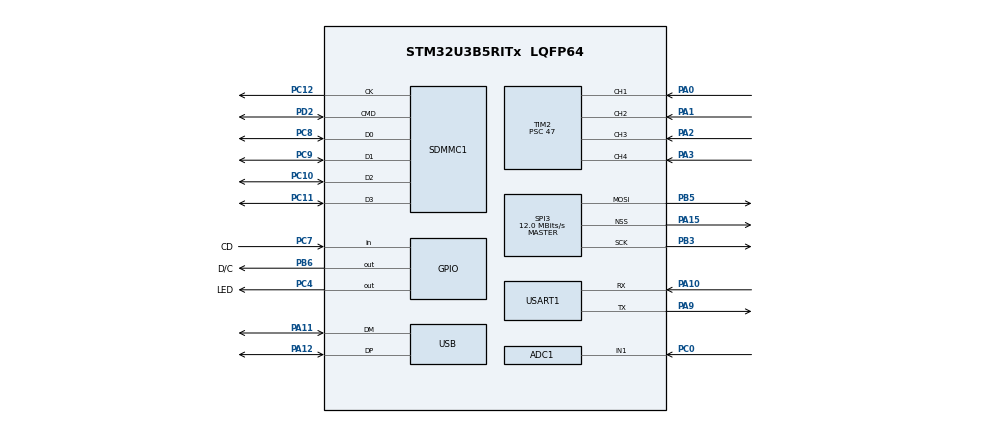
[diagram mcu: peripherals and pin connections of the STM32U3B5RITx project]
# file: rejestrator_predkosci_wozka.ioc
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ADC1.Channel-0\#ChannelRegularConversion=ADC_CHANNEL_1
ADC1.LowPowerAutoWait=ENABLE
ADC1.MonitoredBy-0\#ChannelRegularConversion=__NULL
ADC1.NbrOfConversionFlag=1
ADC1.OffsetNumber-0\#ChannelRegularConversion=ADC_OFFSET_NONE
ADC1.Rank-0\#ChannelRegularConversion=1
ADC1.SamplingTime-0\#ChannelRegularConversion=ADC_SAMPLETIME_1CYCLE_5
ADC1.master=1
CORTEX_M33_NS.userName=CORTEX_M33
FILEX.FX_DRIVER_USE_64BIT_LBA=0
FILEX.FX_ENABLE_EXFAT=1
FILEX.FX_SD_INTERFACE=1
Mcu.Family=STM32U3
Mcu.Name=STM32U3B5RITx
Mcu.Package=LQFP64
NVIC.PriorityGroup=NVIC_PRIORITYGROUP_4
NVIC.SDMMC1_IRQn=true\:0\:0\:false\:false\:true\:true\:true\:true
NVIC.TIM2_IRQn=true\:0\:0\:false\:false\:true\:true\:true\:true
NVIC.TIM7_IRQn=true\:0\:0\:false\:false\:true\:true\:true\:true
NVIC.USART1_IRQn=true\:0\:0\:false\:false\:true\:true\:true\:true
NVIC.USB_FS_IRQn=true\:0\:0\:false\:false\:true\:true\:true\:true
PA0.Signal=S_TIM2_CH1
PA1.Signal=S_TIM2_CH2
PA10.Mode=Asynchronous
PA10.Signal=USART1_RX
PA11.Mode=Device
PA11.Signal=USB_DM
PA12.Mode=Device
PA12.Signal=USB_DP
PA13\ (JTMS/SWDIO).Mode=Serial_Wire
PA13\ (JTMS/SWDIO).Signal=DEBUG_JTMS-SWDIO
PA14\ (JTCK/SWCLK).Mode=Serial_Wire
PA14\ (JTCK/SWCLK).Signal=DEBUG_JTCK-SWCLK
PA15\ (JTDI).Mode=NSS_Signal_Hard_Output
PA15\ (JTDI).Signal=SPI3_NSS
PA2.Signal=S_TIM2_CH3
PA3.Signal=S_TIM2_CH4
PA9.Mode=Asynchronous
PA9.Signal=USART1_TX
PB3\ (JTDO/TRACESWO).Mode=TX_Only_Simplex_Unidirect_Master
PB3\ (JTDO/TRACESWO).Signal=SPI3_SCK
PB5.Mode=TX_Only_Simplex_Unidirect_Master
PB5.Signal=SPI3_MOSI
PB6.GPIO_Label=D/C
PB6.Signal=GPIO_Output
PC0.Mode=IN1-Single-Ended
PC0.Signal=ADC1_IN1
PC10.GPIO_PuPd=GPIO_PULLUP
PC10.Mode=SD_4_bits_Wide_bus
PC10.Signal=SDMMC1_D2
PC11.GPIO_PuPd=GPIO_PULLUP
PC11.Mode=SD_4_bits_Wide_bus
PC11.Signal=SDMMC1_D3
PC12.Mode=SD_4_bits_Wide_bus
PC12.Signal=SDMMC1_CK
PC4.GPIO_Label=LED
PC4.Signal=GPIO_Output
PC7.GPIO_Label=CD
PC7.Signal=GPIO_Input
PC8.GPIO_PuPd=GPIO_PULLUP
PC8.Mode=SD_4_bits_Wide_bus
PC8.Signal=SDMMC1_D0
PC9.GPIO_PuPd=GPIO_PULLUP
PC9.Mode=SD_4_bits_Wide_bus
PC9.Signal=SDMMC1_D1
PD2.GPIO_PuPd=GPIO_PULLUP
PD2.Mode=SD_4_bits_Wide_bus
PD2.Signal=SDMMC1_CMD
PH0-OSC_IN\ (PH0).Mode=HSE-External-Oscillator
PH0-OSC_IN\ (PH0).Signal=RCC_OSC_IN
PH1-OSC_OUT\ (PH1).Mode=HSE-External-Oscillator
PH1-OSC_OUT\ (PH1).Signal=RCC_OSC_OUT
ProjectManager.HeapSize=0x400
ProjectManager.StackSize=0x800
ProjectManager.TargetToolchain=STM32CubeIDE
RCC.ADCFreq_Value=6000000
RCC.ADC_DIV=RCC_ADCDACCLK_DIV8
RCC.AHBFreq_Value=48000000
RCC.APB1Freq_Value=48000000
RCC.APB1TimFreq_Value=48000000
RCC.APB2Freq_Value=48000000
RCC.APB2TimFreq_Value=48000000
RCC.APB3Freq_Value=48000000
RCC.CortexFreq_Value=6000000
RCC.FLatency=FLASH_LATENCY_2
RCC.HCLKFreq_Value=48000000
RCC.HSE_VALUE=24000000
RCC.HSI48_VALUE=48000000
RCC.HSI_VALUE=16000000
RCC.ICLKCLockSelection=RCC_ICLKCLKSOURCE_HSI48
RCC.LSE_VALUE=32768
RCC.LSIDIV_VALUE=32000
RCC.MSIKDIV=RCC_MSI_DIV2
RCC.MSISDIV=RCC_MSI_DIV2
RCC.SYSCLKFreq_VALUE=48000000
RCC.USBFreq_Value=48000000
SH.S_TIM2_CH1.0=TIM2_CH1,Input_Capture1_from_TI1
SH.S_TIM2_CH2.0=TIM2_CH2,Input_Capture2_from_TI2
SH.S_TIM2_CH3.0=TIM2_CH3,Input_Capture3_from_TI3
SH.S_TIM2_CH4.0=TIM2_CH4,Input_Capture4_from_TI4
SPI3.BaudRatePrescaler=SPI_BAUDRATEPRESCALER_4
SPI3.CalculateBaudRate=12.0 MBits/s
SPI3.Direction=SPI_DIRECTION_2LINES_TXONLY
SPI3.Mode=SPI_MODE_MASTER
SPI3.TIMode=SPI_TIMODE_DISABLE
SPI3.VirtualNSS=VM_NSSHARD
SPI3.VirtualType=VM_MASTER
STMicroelectronics.X-CUBE-ALGOBUILD.1.5.0.LibraryCcDSPOoLibraryJjDSPOoLibrary=true
TIM2.Channel-Input_Capture1_from_TI1=TIM_CHANNEL_1
TIM2.Channel-Input_Capture2_from_TI2=TIM_CHANNEL_2
TIM2.Channel-Input_Capture3_from_TI3=TIM_CHANNEL_3
TIM2.Channel-Input_Capture4_from_TI4=TIM_CHANNEL_4
TIM2.ICPolarity_CH1=TIM_INPUTCHANNELPOLARITY_FALLING
TIM2.ICPolarity_CH2=TIM_INPUTCHANNELPOLARITY_FALLING
TIM2.ICPolarity_CH3=TIM_INPUTCHANNELPOLARITY_FALLING
TIM2.ICPolarity_CH4=TIM_INPUTCHANNELPOLARITY_FALLING
TIM2.Prescaler=47
TIM7.AutoReloadPreload=TIM_AUTORELOAD_PRELOAD_DISABLE
TIM7.Prescaler=47
USART1.VirtualMode-Asynchronous=VM_ASYNC
USB.VirtualMode=Device_Only
VP_CORTEX_M33_NS_VS_Ext.Mode=External_Mode
VP_FILEX_VS_FileOoSystemJjFileXJjCore.Mode=FileX_Core
VP_FILEX_VS_SDOointerface.Mode=SD_interface
VP_ICACHE_VS_ICACHE.Mode=DirectMappedCache
VP_PWR_VS_DBSignals.Mode=DisableDeadBatterySignals
VP_PWR_VS_SECSignals.Mode=Security/Privilege
VP_RCC_USB.Mode=CRS SYNC Source USB
VP_RNG_VS_RNG.Mode=RNG_Activate
VP_STMicroelectronics.X-CUBE-ALGOBUILD_VS_DSPOoLibraryJjLibrary_1.5.0_1.5.0.Mode=DSPOoLibraryJjLibrary
VP_TIM2_VS_ClockSourceINT.Mode=Internal
VP_TIM7_VS_ClockSourceINT.Mode=Enable_Timer
board=custom

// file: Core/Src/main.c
/* USER CODE BEGIN Header */
/**
  ******************************************************************************
  * @file           : main.c
  * @brief          : Main program body
  ******************************************************************************
  * @attention
  *
  * Copyright (c) 2026 STMicroelectronics.
  * All rights reserved.
  *
  * This software is licensed under terms that can be found in the LICENSE file
  * in the root directory of this software component.
  * If no LICENSE file comes with this software, it is provided AS-IS.
  *
  ******************************************************************************
  */
/* USER CODE END Header */
#include "main.h"
#include "app_filex.h"

/* USER CODE BEGIN Includes */
#include "OLED.h"
#include "KartaSD.h"
#include "KodyBledow.h"
#include "Bluetooth.h"
#include "Czas.h"
#include "Pomiar.h"
#include "Kalman.h"
#include <arm_math.h>
#include <stdio.h>
#include "Enkoder.h"
/* USER CODE END Includes */

ADC_HandleTypeDef hadc1;

RNG_HandleTypeDef hrng;

SD_HandleTypeDef hsd1;

SPI_HandleTypeDef hspi3;

TIM_HandleTypeDef htim2;
TIM_HandleTypeDef htim7;

UART_HandleTypeDef huart1;

PCD_HandleTypeDef hpcd_USB_DRD_FS;

/* USER CODE BEGIN PV */

extern FontDef Font_6x8;
extern FontDef Font_7x10;
extern FontDef Font_11x18;
extern FontDef Font_16x26;
extern const uint8_t logo_ITWL[];
extern const int logo_ITWL_width;
extern const int logo_ITWL_height;
char cBuforNapisów[ROZMIAR_BUF_NAPISOW];	//zmienna do drukowania napisów funkcją sprintf()
stPomiary_t stPomiary[ROZMIAR_BUF_POMIAROW];
uint8_t cBłąd;
uint16_t sLiczbaPomiarów;
extern uint8_t cStatusPomiaru;
extern uint16_t sIndeksPomiaru[LICZBA_CZUJNIKOW];
uint8_t cLicznikOczekiwania;
uint32_t nCzas, nCzasPoczatkuPomiaru, nCzasStart, nCzasStop;
uint32_t nCzasPetliGłównej, nPoprzedniCzasPetliGłównej;
float fPrędkośćMax;
extern float32_t fX[KSTAN];						//wektor stanu: 0=droga, 1=prędkość, 2=przyspieszenie, 3..6=błąd drogi rolek 1..4
extern uint16_t sLicznikPomiarow;
float fNapięcieAku;
//int8_t cPozycjaRolki[LICZBA_CZUJNIKOW];		//określa bieżące położenie rolki: 0=impuls nastąpił po połowie obwodu, 1, 2 - impuls wystąpił po ćwiartce obwodu
//int8_t cKierunekObrotów[LICZBA_CZUJNIKOW];	//okresla kierunek obrotów: 1
float fDroga[LICZBA_CZUJNIKOW] = {0.0f};
//uint8_t cStanCzujnika[2] = {0,1}; 				//każdy czujnik odpowiada za automatu stanu. Czujniki 0 i 2 zmieniają stan między 0 i 3, czujniki 1 i 3 między 1 i 2
//uint8_t cStanEnkodera[2];						//stany 0..3 obu enkoderów. Bit 0 i 1 enkodera 1 pochodzą z wejść 1 i 2, bity enkodera 2 pochodza z wejść 3 i 4
//uint8_t cPoprzedniStanEnkodera[2] = {0,0};		//poprzedni stan enkoderów potrzebny do określenia kierunku obrotu
//uint8_t cPoprzedniImpuls12, cPoprzedniImpuls34;	//zmienna do wykrywania zmian kierunku w trakcie pracy. Dwa impulsy na tym samym czujniku oznacza zmianę kierunku
//int8_t cKierunek12, cKierunek34;				//kierunek obrotów określony parą czujników 1,2 i parą 3,4
GPIO_PinState cStanWejścia;
uint16_t sIndeks = 0;
extern stEnkoder_t stEnkoder;
/* USER CODE END PV */

void SystemClock_Config(void);
void PeriphCommonClock_Config(void);
static void MX_GPIO_Init(void);
static void MX_ADC1_Init(void);
static void MX_ICACHE_Init(void);
static void MX_SPI3_Init(void);
static void MX_TIM2_Init(void);
static void MX_USART1_UART_Init(void);
static void MX_USB_PCD_Init(void);
static void MX_RNG_Init(void);
static void MX_SDMMC1_SD_Init(void);
static void MX_TIM7_Init(void);

int main(void)
{

  /* MCU Configuration--------------------------------------------------------*/

  /* Reset of all peripherals, Initializes the Flash interface and the Systick. */
  HAL_Init();

  /* Configure the system clock */
  SystemClock_Config();

  /* Configure the peripherals common clocks */
  PeriphCommonClock_Config();

  /* Initialize all configured peripherals */
  MX_GPIO_Init();
  MX_ADC1_Init();
  MX_ICACHE_Init();
  MX_SPI3_Init();
  MX_TIM2_Init();
  MX_USART1_UART_Init();
  MX_USB_PCD_Init();
  MX_RNG_Init();
  MX_SDMMC1_SD_Init();
  MX_FileX_Init();
  MX_TIM7_Init();
  /* USER CODE BEGIN 2 */
  OLED_Init();
  InicjujPomiarTimerem();
  /* USER CODE END 2 */

  /* Infinite loop */
  /* USER CODE BEGIN WHILE */
  //Podczas uruchomienia wyświetl logo
    RysujBitmape((OLED_SZEROKOSC - logo_ITWL_width), 0, logo_ITWL_width, logo_ITWL_height, (uint8_t*)logo_ITWL);
    OLED_RysujNapis("WS-150-3I", 0, 0, &Font_7x10);
    sprintf(cBuforNapisów, "ver.%d", NUMER_WERSJI_REPO);
    OLED_RysujNapis(cBuforNapisów, 0, 12, &Font_7x10);

    //zmierz i wyświetl napięcie akumulatora
    cBłąd = HAL_ADC_Start(&hadc1);
    cBłąd = HAL_ADC_PollForConversion(&hadc1, 100);
	uint32_t nAdcVal = HAL_ADC_GetValue(&hadc1);
	fNapięcieAku = 3.3f * nAdcVal / 4096;
	fNapięcieAku *= 113.0f / 13.0f;	//zewnętrzny dzielnik napięcia
    sprintf(cBuforNapisów, "Ub=%.1fV", fNapięcieAku);
    OLED_RysujNapis(cBuforNapisów, 0, 54, &Font_7x10);

    OLED_OdswiezEkran();
	CzytajIndeksPomiaruZKarty(&sLicznikPomiarow);	//odczytaj indeks ostatnio zapisywanego pomiaru, po to aby bez względu na wyłączanie zasilnia kontynuować numerację i nie nadpisywać swieżych pomiarów
    OLED_CzyśćBuforEkranu();
    while (1)
    {
	  /*/diagnostyka pomiaru czasu - sprawdzić po zmianie częstotliwości taktowania timera
	  for (uint8_t n=0; n<6; n++)
	  {
		  HAL_GPIO_TogglePin(LED_GPIO_Port, LED_Pin);
		  nCzasStart = PobierzCzasT7();
		  do  nCzas = MinalCzas(nCzasStart);
		  while (nCzas < 100000);
	  }*/
    /* USER CODE END WHILE */

    /* USER CODE BEGIN 3 */
    	uint8_t cPozX, cPozY;
    	float fWspSkaliY;	//tyle m/s na wysokości ekranu
    	float fWspSkaliX;

    	cStanWejścia = HAL_GPIO_ReadPin(GPIOA, GPIO_PIN_1);	//czujnik 2 to PA1
    	HAL_GPIO_WritePin(LED_GPIO_Port, LED_Pin, !cStanWejścia);

    	//jeżeli układ pomiarowy nie jest uzbrojony to uzbrój go, czyli inicjuj dane wejdź w gotowość na rejestrację pomiaru
    	if ((cStatusPomiaru & SP_UZBROJONY) != SP_UZBROJONY)
    	{
    		InicjujFiltrKalmanaPrędkościRolek7X2Z();
    		cBłąd = RozpocznijPomiarTimerem();
    		nCzasPoczatkuPomiaru = PobierzCzasT7();
    		cStatusPomiaru |= SP_UZBROJONY;
    		sLiczbaPomiarów = 0;
    		fPrędkośćMax = 0.0f;
    		for (uint8_t n=0; n<4; n++)
    			fDroga[n] = 0.0f;
    	}

    	nCzas = PobierzCzasT7();
    	//Pojawił się pierwszy impuls pomiaru
    	if (cStatusPomiaru & SP_TRWA)
    	{
    		nCzasPetliGłównej = MinalCzas2(nPoprzedniCzasPetliGłównej, nCzas);

    		//nCzas = PobierzCzasT7();	//start testowego pomiaru czasu
    		PredykcjaFiltraKalmanaPrędkościRolek7X2Z((float)nCzasPetliGłównej / 1000000);
    		//nCzas = MinalCzas(nCzas);	//odczyt testowego pomiaru czasu
    	}
    	nPoprzedniCzasPetliGłównej = nCzas;

    	//oblicz prędkość ostatniego pomiaru dla każdego czujnika
    	if (cStatusPomiaru & SP_POMIAR_ROLKI1)
    	{
    		cStatusPomiaru &= ~SP_POMIAR_ROLKI1;
    		sIndeks = sIndeksPomiaru[0] - 1;	//sIndeksPomiaru[] jest aktualizowany w przerwaniu CC timera i wskazuje na następny pomiar
    		/*/czujnik 1 zmienia stan enkodera między wartością 0 i 3
    		if (cStanCzujnika[0] == 0)
    			cStanCzujnika[0] = 3;
    		else
    		if (cStanCzujnika[0] == 3)
    			cStanCzujnika[0] = 0;
    		cStanEnkodera[0] = cStanCzujnika[0];
			stPomiary[sIndeks].cStanBieżący12 = cStanEnkodera[0];
			stPomiary[sIndeks].cStanPoprzedni12 = cPoprzedniStanEnkodera[0];
			cKierunek12 = SprawdźKierunek(cStanEnkodera[0], &cPoprzedniStanEnkodera[0]);	//określ kierunek obrotów
			stPomiary[sIndeks].cKierunekObrotów12 = cKierunek12;*/

    		SprawdźKierunekCzujników(0, &stEnkoder);
    		stPomiary[sIndeks].cKierunekObrotów12 = stEnkoder.cKierunek[0];

    		if (stPomiary[sIndeks].nCzas1 > MIN_CZAS)
    		{
    			stPomiary[sIndeks].fPrędkość1 = (float)stEnkoder.cKierunek[0] * OBWOD_ROLKI_M / ((float)stPomiary[sIndeks].nCzas1 / 1000000);	//średnia prędkość na bieżącym odcinku
    			fDroga[0] += (float)stEnkoder.cKierunek[0] * OBWOD_ROLKI_M / MAGNESOW_NA_ROLCE;	//taką drogę całkowitą w [m] pokonał wózek mierzony rolką 1
    			AktulizacjaRolką1FiltraKalmanaPrędkości7X2Z(fDroga[0], stPomiary[sIndeks].fPrędkość1);

    			//znajdź maksymalną prędkość
    			if (fPrędkośćMax < stPomiary[sIndeks].fKalmanPredkość)
    				fPrędkośćMax = stPomiary[sIndeks].fKalmanPredkość;
    		}
    	}

    	if (cStatusPomiaru & SP_POMIAR_ROLKI2)
    	{
    		cStatusPomiaru &= ~SP_POMIAR_ROLKI2;
    		sIndeks = sIndeksPomiaru[1] - 1;
    		/*/czujnik 1 zmienia stan enkodera między wartością 1 i 2
    		if (cStanCzujnika[1] == 1)
    			cStanCzujnika[1] = 2;
    		else
    		if (cStanCzujnika[1] == 2)
    			cStanCzujnika[1] = 1;
    		cStanEnkodera[0] = cStanCzujnika[1];
    		stPomiary[sIndeks].cStanBieżący12 = cStanEnkodera[0];
    		stPomiary[sIndeks].cStanPoprzedni12 = cPoprzedniStanEnkodera[0];
    		cKierunek12 = SprawdźKierunek(cStanEnkodera[0], &cPoprzedniStanEnkodera[0]);	//określ kierunek obrotów
    		stPomiary[sIndeks].cKierunekObrotów12 = cKierunek12;*/

    		SprawdźKierunekCzujników(1, &stEnkoder);
    		stPomiary[sIndeks].cKierunekObrotów12 = stEnkoder.cKierunek[0];

    		if (stPomiary[sIndeks].nCzas2 > MIN_CZAS)
    		{
    			/*/w przypadku 3 magnesów ułożonych co 90° mierzone sąL 0=odcinek odpowiadający 1/2 obwodu, 1..2 odcinki podowiadające 1/4 obwodu.
    			if (cPozycjaRolki[1] == 0)
    				stPomiary[sIndeks].fPrędkość2 = (OBWOD_ROLKI_M / 2) / ((float)stPomiary[sIndeks].nCzas2 / 1000000);	//średnia prędkość na odcinku dłuższym
    			else
    				stPomiary[sIndeks].fPrędkość2 = (OBWOD_ROLKI_M / 4) / ((float)stPomiary[sIndeks].nCzas2 / 1000000);	//średnia prędkość na odcinku krótszym

    			stPomiary[sIndeks].cBieżącaPozycjaRolki2 = cPozycjaRolki[1];	//zapamiętaj pozycje w logu

    			//Jeżeli mamy przynajmniej 3 obroty można  rozpocząć synchronizację położenia dłuższego odcinka obwodu rolki do pomiaru
    			if (sIndeks >= 2)
    			{
    				float fWariantyPrędkości[3][3];	//wszystkie 3 możliwe rozkłady prędkości

				//wariant 1: 1/2, 1/4, 1/4
				fWariantyPrędkości[0][0] = (OBWOD_ROLKI_M / 2) / ((float)stPomiary[sIndeks - 2].nCzas2 / 1000000);
				fWariantyPrędkości[0][1] = (OBWOD_ROLKI_M / 4) / ((float)stPomiary[sIndeks - 1].nCzas2 / 1000000);
				fWariantyPrędkości[0][2] = (OBWOD_ROLKI_M / 4) / ((float)stPomiary[sIndeks - 0].nCzas2 / 1000000);

				//wariant 2: 1/4, 1/2, 1/4
				fWariantyPrędkości[1][0] = (OBWOD_ROLKI_M / 4) / ((float)stPomiary[sIndeks - 2].nCzas2 / 1000000);
				fWariantyPrędkości[1][1] = (OBWOD_ROLKI_M / 2) / ((float)stPomiary[sIndeks - 1].nCzas2 / 1000000);
				fWariantyPrędkości[1][2] = fWariantyPrędkości[0][2];	//wykorzystaj to co było już policzone

				//wariant 3: 1/4, 1/4, 1/2
				fWariantyPrędkości[2][0] = fWariantyPrędkości[1][0];
				fWariantyPrędkości[2][1] = fWariantyPrędkości[0][1];
				fWariantyPrędkości[2][2] = (OBWOD_ROLKI_M / 2) / ((float)stPomiary[sIndeks - 0].nCzas2 / 1000000);

				//Metodą najmniejszych kwadratów oblicz dopasowanie pomiaru do jednego z wariantów
				float fOdchylenie[3];
				for (uint8_t w=0; w<3; w++)		//pętla po wariantach
				{
					//sumuj kwadrat różnicy...
					fOdchylenie[w] = 0;
					for (uint8_t n=0; n<3; n++)		//pętla po pomiarach
					{
						//fOdchylenie[w] += powf(stPomiary[sIndeks - n].fPrędkość2 - fWariantyPrędkości[w][n], 2);	//między pomiarem a wariantami rozkładu odległości na rolce
						fOdchylenie[w] += powf(stPomiary[sIndeks - (2 - n)].fKalmanPredkość - fWariantyPrędkości[w][n], 2);	//między estymatą a wariantami rozkładu odległości na rolce
					}
					stPomiary[sIndeks].fOdchylenie[w] = fOdchylenie[w];
				}

				//sprawdź który wariant ma najmniejsze odchylenie od pomiaru
				if (cKierunekObrotów[1])	//kierunek normalny do przodu
				{
					if ((fOdchylenie[0] < fOdchylenie[1]) && (fOdchylenie[0] < fOdchylenie[2]))	//wariant 1
						stPomiary[sIndeks].cSkorygowanaPozycjaRolki2 = 2;
					else
					if ((fOdchylenie[1] < fOdchylenie[0]) && (fOdchylenie[1] < fOdchylenie[2]))	//wariant 2
						stPomiary[sIndeks].cSkorygowanaPozycjaRolki2 = 1;
					else
					if ((fOdchylenie[2] < fOdchylenie[0]) && (fOdchylenie[2] < fOdchylenie[1]))	//wariant 3
						stPomiary[sIndeks].cSkorygowanaPozycjaRolki2 = 0;
				}
				else	//ruch wstecz
				{
					if ((fOdchylenie[0] < fOdchylenie[1]) && (fOdchylenie[0] < fOdchylenie[2]))
						stPomiary[sIndeks].cSkorygowanaPozycjaRolki2 = 0;
					else
					if ((fOdchylenie[1] < fOdchylenie[0]) && (fOdchylenie[1] < fOdchylenie[2]))
						stPomiary[sIndeks].cSkorygowanaPozycjaRolki2 = 1;
					else
					if ((fOdchylenie[2] < fOdchylenie[0]) && (fOdchylenie[2] < fOdchylenie[1]))
						stPomiary[sIndeks].cSkorygowanaPozycjaRolki2 = 2;
				}

				//synchronizacja tylko na początku
				if (sIndeks == 2)
					cPozycjaRolki[1] = stPomiary[sIndeks].cSkorygowanaPozycjaRolki2;
			}

			//zmiana synchronizacji to prawdopodobna zmiana kierunku ale potrzeba co najmniej dwóch skorygowanych pozycji aby dobrze okreslić kierunek
			if (sIndeks >= 3)
				cKierunekObrotów[1] = (stPomiary[sIndeks].cSkorygowanaPozycjaRolki2 == stPomiary[sIndeks].cBieżącaPozycjaRolki2);
			stPomiary[sIndeks].cKierunekObrotów2 = cKierunekObrotów[1];

			//kolejna pozycja rolki zależy od kierunku obrotów
			//if (cKierunekObrotów[1])
			{
				cPozycjaRolki[1]++;
				if (cPozycjaRolki[1] > 2)
					cPozycjaRolki[1] = 0;
			}*/
			/*else
			{
				cPozycjaRolki[1]--;
				if (cPozycjaRolki[1] < 0)
					cPozycjaRolki[1] = 2;
			}*/

   			stPomiary[sIndeks].fPrędkość2 = stEnkoder.cKierunek[0] * OBWOD_ROLKI_M / ((float)stPomiary[sIndeks].nCzas2 / 1000000);	//średnia prędkość na bieżącym odcinku
			fDroga[1] += stEnkoder.cKierunek[0] * OBWOD_ROLKI_M / MAGNESOW_NA_ROLCE;	//taką drogę całkowitą w [m] pokonał wózek mierzony rolką 2
			//nCzas = PobierzCzasT7();	//start testowego pomiaru czasu
			AktulizacjaRolką2FiltraKalmanaPrędkości7X2Z(fDroga[1], stPomiary[sIndeks].fPrędkość2);
			//nCzas = MinalCzas(nCzas);	//odczyt testowego pomiaru czasu

			//znajdź maksymalną prędkość
			if (fPrędkośćMax < stPomiary[sIndeks].fKalmanPredkość)
				fPrędkośćMax = stPomiary[sIndeks].fKalmanPredkość;
		}
	}

	if (cStatusPomiaru & SP_POMIAR_ROLKI3)
	{
		cStatusPomiaru &= ~SP_POMIAR_ROLKI3;
		sIndeks = sIndeksPomiaru[2] - 1;
		//cStanEnkodera[1] ^= 0x01;					//zmień stan bitu 1 enkodera 2
		//cKierunek34 = SprawdźKierunek(cStanEnkodera[1], &cPoprzedniStanEnkodera[1]);	//okreś kierunek obrotów
		SprawdźKierunekCzujników(2, &stEnkoder);
		stPomiary[sIndeks].cKierunekObrotów34 = stEnkoder.cKierunek[1];

		if (stPomiary[sIndeks].nCzas3 > MIN_CZAS)
		{
			stPomiary[sIndeks].fPrędkość3 = stEnkoder.cKierunek[1] * OBWOD_ROLKI_M / ((float)stPomiary[sIndeks].nCzas3 / 1000000);	//średnia prędkość na bieżącym odcinku
			fDroga[2] += stEnkoder.cKierunek[1] * OBWOD_ROLKI_M / MAGNESOW_NA_ROLCE;	//taką drogę całkowitą w [m] pokonał wózek mierzony rolką 3
			AktulizacjaRolką3FiltraKalmanaPrędkości7X2Z(fDroga[2], stPomiary[sIndeks].fPrędkość3);

			//znajdź maksymalną prędkość
			if (fPrędkośćMax < stPomiary[sIndeks].fKalmanPredkość)
				fPrędkośćMax = stPomiary[sIndeks].fKalmanPredkość;
		}
	}

	if (cStatusPomiaru & SP_POMIAR_ROLKI4)
	{
		cStatusPomiaru &= ~SP_POMIAR_ROLKI4;
		sIndeks = sIndeksPomiaru[3] - 1;
		//cStanEnkodera[1] ^= 0x02;					//zmień stan bitu 2 enkodera 2
		//cKierunek34 = SprawdźKierunek(cStanEnkodera[1], &cPoprzedniStanEnkodera[1]);	//okreś kierunek obrotów
		SprawdźKierunekCzujników(3, &stEnkoder);
		stPomiary[sIndeks].cKierunekObrotów34 = stEnkoder.cKierunek[1];

		if (stPomiary[sIndeks].nCzas4 > MIN_CZAS)
		{
			stPomiary[sIndeks].fPrędkość4 = stEnkoder.cKierunek[1] * OBWOD_ROLKI_M / ((float)stPomiary[sIndeks].nCzas4 / 1000000);	//średnia prędkość na bieżącym odcinku
			fDroga[3] += stEnkoder.cKierunek[1] * OBWOD_ROLKI_M / MAGNESOW_NA_ROLCE;	//taką drogę całkowitą w [m] pokonał wózek mierzony rolką 4
			AktulizacjaRolką4FiltraKalmanaPrędkości7X2Z(fDroga[3], stPomiary[sIndeks].fPrędkość4);

			//znajdź maksymalną prędkość
			if (fPrędkośćMax < stPomiary[sIndeks].fKalmanPredkość)
				fPrędkośćMax = stPomiary[sIndeks].fKalmanPredkość;
		}
	}

	//ustaw dane z filtra Kalmana
	stPomiary[sIndeks].fKalmanDroga = fX[0];
	stPomiary[sIndeks].fKalmanPredkość = fX[1];
	stPomiary[sIndeks].fKalmanPrzyspieszenie = fX[2];
	stPomiary[sIndeks].fBłądDrogi1 = fX[3];
	stPomiary[sIndeks].fBłądDrogi2 = fX[4];
	stPomiary[sIndeks].fBłądDrogi3 = fX[5];
	stPomiary[sIndeks].fBłądDrogi4 = fX[6];

	//pułapka na zerową estymatę prędkości
	if ((fX[1] == 0.0f) || (stPomiary[sIndeks].fKalmanPredkość == 0.0f))
		cBłąd = 1;

	//przyszły nowe dane, więc przerysuj wykres
	if (cStatusPomiaru & SP_NOWY_POMIAR)
	{
		//oblicz liczbę pomiarów
		uint32_t nMinCzas = 0xFFFFFFFF;
		for (uint8_t n=0; n<LICZBA_CZUJNIKOW; n++)
		{
			if (sIndeksPomiaru[n] > sLiczbaPomiarów)
				 sLiczbaPomiarów = sIndeksPomiaru[n];
		}
		fWspSkaliX = (float)OLED_SZEROKOSC / sLiczbaPomiarów;	//skaluj szerokość wykresu do bieżącej liczby pomiarów

		//znajdź najmniejszy czas aby obliczyć współczynnik skalowania wykresu w Y
		for (uint16_t n=0; n<sLiczbaPomiarów; n++)
		{
			if (stPomiary[n].nCzas1 && (stPomiary[n].nCzas1 < nMinCzas))
				nMinCzas = stPomiary[n].nCzas1;
			if (stPomiary[n].nCzas2 && (stPomiary[n].nCzas2 < nMinCzas))
				nMinCzas = stPomiary[n].nCzas2;
			if (stPomiary[n].nCzas3 && (stPomiary[n].nCzas3 < nMinCzas))
				nMinCzas = stPomiary[n].nCzas3;
			if (stPomiary[n].nCzas4 && (stPomiary[n].nCzas4 < nMinCzas))
				nMinCzas = stPomiary[n].nCzas4;
		 }
		 fWspSkaliY = (float)OLED_WYSOKOSC / (OBWOD_ROLKI_M / ((float)nMinCzas / 1000000));	//tyle m/s na wysokości ekranu

		 OLED_CzyśćBuforEkranu();
		 //Jako pierwszy wyświetla napis aby można było na nim rysować wykresy
		 sprintf(cBuforNapisów, "V  =%.2f  ", fPrędkośćMax);
		 OLED_RysujNapis(cBuforNapisów, 20, 45, &Font_11x18);
		 OLED_RysujNapis("max", 31, 45+18-10, &Font_7x10);		//przesunięcie w Y aby wyrównać do dołu
		 OLED_RysujNapis("m", 120, 45-3, &Font_7x10);
		 OLED_RysujNapis("s", 120, 45+8, &Font_7x10);
		 OLED_RysujLiniePoziomą(120, 45+7, 7);				//kreska ułamka jednostki [m/s]

		 //rysuj poziomą podziałkę wykresu
		 float fMaxPredkość = (float)OLED_WYSOKOSC / fWspSkaliY;
		 uint8_t cMaxPredkość = (uint8_t)(ceilf(fMaxPredkość) + 1.0f);
		 cMaxPredkość &= 0xFE;		//zamień na liczbę parzystą aby uniknąć podziału nieparzystych
		 float fSkokPodziałki = (float)cMaxPredkość / LICZBA_PODZIALEK;
		 for (uint8_t n=0; n<LICZBA_PODZIALEK; n++)
		 {
			 int16_t y = (int16_t)(fSkokPodziałki * (n+1) * fWspSkaliY);
			 if ((y > 0) && (y < OLED_WYSOKOSC))
			 {
				 OLED_RysujLiniePoziomąPrzerywaną(SZEROKOSC_OPISU_PODZIALKI, OLED_WYSOKOSC - y, OLED_SZEROKOSC - SZEROKOSC_OPISU_PODZIALKI, 3);
				 sprintf(cBuforNapisów, "%.1f", (n+1) * fSkokPodziałki);
				 OLED_RysujNapis(cBuforNapisów, 0, OLED_WYSOKOSC - y - 3, &Font_6x8);
			 }
		 }

		 //rysuj wykresy prędkości wózka ze wszystkich 4 rolek jako punkty pomiarowe
		 for (uint16_t x=0; x<sLiczbaPomiarów; x++)
		 {
			 cPozX = x * fWspSkaliX;
			 cPozY = OLED_WYSOKOSC - stPomiary[x].fPrędkość1 * fWspSkaliY;
			 OLED_RysujPiksel(cPozX, cPozY, 1);
			 cPozY = OLED_WYSOKOSC - stPomiary[x].fPrędkość2 * fWspSkaliY;
			 OLED_RysujPiksel(cPozX, cPozY, 1);
			 cPozY = OLED_WYSOKOSC - stPomiary[x].fPrędkość3 * fWspSkaliY;
			 OLED_RysujPiksel(cPozX, cPozY, 1);
			 cPozY = OLED_WYSOKOSC - stPomiary[x].fPrędkość4 * fWspSkaliY;
			 OLED_RysujPiksel(cPozX, cPozY, 1);
		 }

		 //rysuj wykres prędkości wózka z filtra Kalmana jako linię ciągłą
		 uint16_t sStartX, sStartY, sStopX, sStopY;
		 sStartX = sStartY = 0;
		 for (uint16_t x=0; x<sLiczbaPomiarów; x++)
		 {
			 sStopX = x * fWspSkaliX;
			 sStopY = stPomiary[x].fKalmanPredkość * fWspSkaliY;
			 OLED_RysujLinię(sStartX, OLED_WYSOKOSC - sStartY, sStopX, OLED_WYSOKOSC - sStopY);
			 sStartX = sStopX;
			 sStartY = sStopY;
		 }

		 //rysuj kierunek obrotu

		 sprintf(cBuforNapisów, "stan: %d", stEnkoder.cStanEnkodera[0]);
		 OLED_RysujNapis(cBuforNapisów, 80, 0, &Font_6x8);
		 sprintf(cBuforNapisów, "kier: %+d", stEnkoder.cKierunek[0]);
		 OLED_RysujNapis(cBuforNapisów, 80, 20, &Font_6x8);
		 OLED_OdswiezEkran();
	  }

	  //koniec pomiaru, zapisz na kartę i wyślij telemetrię
	  if (cStatusPomiaru & SP_GOTOWY)
	  {
		  if (sLiczbaPomiarów > LICZBA_POMIAROW_DO_ZAPISU)	//nie zapisuj bardzo krótkich pomiarów
		  {
			  cBłąd = WyślijTelemetrieBluetooth(stPomiary);
			  if (cBłąd == BLAD_OK)
			  {
				  //HAL_GPIO_WritePin(LED_GPIO_Port, LED_Pin, GPIO_PIN_SET);	//błyśnij LED gdy poprawnie wysłał telemetrię
				  //HAL_Delay(100);
			  }
			  //HAL_GPIO_WritePin(LED_GPIO_Port, LED_Pin, GPIO_PIN_RESET);	//niski poziom gasi LED
			  //HAL_Delay(100);

			  cBłąd = ZapiszPomiarNaKarte(stPomiary);
			  if (cBłąd == BLAD_OK)
			  {
				  //HAL_GPIO_WritePin(LED_GPIO_Port, LED_Pin, GPIO_PIN_SET);	//błyśnij LED gdy poprawnie zapisał dane na kartę
				  //HAL_Delay(100);
				  cBłąd = ZapiszIndeksPomiaruNaKarte(sLicznikPomiarow);		//aktualizuj indeks. skoro zapis danych się udał to indeks też powinien się zapisać
			  }
			  //HAL_GPIO_WritePin(LED_GPIO_Port, LED_Pin, GPIO_PIN_RESET);	//niski poziom gasi LED
			  //HAL_Delay(100);
		  }

		  cStatusPomiaru = 0;	//kasuj wszystkie flagi
		  cLicznikOczekiwania = 0;
	  }
	  else	//cStatusPomiaru nie jest SP_GOTOWY. Sprawdź czy wystąpił timeout
	  {
		  nCzas = MinalCzas(nCzasPoczatkuPomiaru);
		  if ((nCzas > 5000000) && (cStatusPomiaru & SP_UZBROJONY)  && (cStatusPomiaru & SP_TRWA))	//timeout 5 sekund
		  {
			  cBłąd = ZakończPomiarTimerem();
			  cStatusPomiaru |= SP_GOTOWY;
		  }
	  }
  }
  /* USER CODE END 3 */
}

void SystemClock_Config(void)
{
  RCC_OscInitTypeDef RCC_OscInitStruct = {0};
  RCC_ClkInitTypeDef RCC_ClkInitStruct = {0};
  RCC_CRSInitTypeDef RCC_CRSInitStruct = {0};

  /** Enable Epod Booster
  */
  if (HAL_RCCEx_EpodBoosterClkConfig(RCC_EPODBOOSTER_SOURCE_MSIS, RCC_EPODBOOSTER_DIV1) != HAL_OK)
  {
    Error_Handler();
  }
  if (HAL_PWREx_EnableEpodBooster() != HAL_OK)
  {
    Error_Handler();
  }

  /** Configure the main internal regulator output voltage
  */
  if (HAL_PWREx_ControlVoltageScaling(PWR_REGULATOR_VOLTAGE_SCALE2) != HAL_OK)
  {
    Error_Handler();
  }

  /** Set Flash latency before increasing MSIS
  */
  __HAL_FLASH_SET_LATENCY(FLASH_LATENCY_2);

  /** Initializes the CPU, AHB and APB buses clocks
  */
  RCC_OscInitStruct.OscillatorType = RCC_OSCILLATORTYPE_HSI48|RCC_OSCILLATORTYPE_MSIS;
  RCC_OscInitStruct.HSI48State = RCC_HSI48_ON;
  RCC_OscInitStruct.MSISState = RCC_MSI_ON;
  RCC_OscInitStruct.MSISSource = RCC_MSI_RC0;
  RCC_OscInitStruct.MSISDiv = RCC_MSI_DIV2;
  if (HAL_RCC_OscConfig(&RCC_OscInitStruct) != HAL_OK)
  {
    Error_Handler();
  }

  /** Initializes the CPU, AHB and APB buses clocks
  */
  RCC_ClkInitStruct.ClockType = RCC_CLOCKTYPE_HCLK|RCC_CLOCKTYPE_SYSCLK
                              |RCC_CLOCKTYPE_PCLK1|RCC_CLOCKTYPE_PCLK2
                              |RCC_CLOCKTYPE_PCLK3;
  RCC_ClkInitStruct.SYSCLKSource = RCC_SYSCLKSOURCE_MSIS;
  RCC_ClkInitStruct.AHBCLKDivider = RCC_SYSCLK_DIV1;
  RCC_ClkInitStruct.APB1CLKDivider = RCC_HCLK_DIV1;
  RCC_ClkInitStruct.APB2CLKDivider = RCC_HCLK_DIV1;
  RCC_ClkInitStruct.APB3CLKDivider = RCC_HCLK_DIV1;

  if (HAL_RCC_ClockConfig(&RCC_ClkInitStruct, FLASH_LATENCY_2) != HAL_OK)
  {
    Error_Handler();
  }

  /** Enable the CRS clock
  */
  __HAL_RCC_CRS_CLK_ENABLE();

  /** Configures CRS
  */
  RCC_CRSInitStruct.Prescaler = RCC_CRS_SYNC_DIV1;
  RCC_CRSInitStruct.Source = RCC_CRS_SYNC_SOURCE_USB;
  RCC_CRSInitStruct.Polarity = RCC_CRS_SYNC_POLARITY_RISING;
  RCC_CRSInitStruct.ReloadValue = __HAL_RCC_CRS_RELOADVALUE_CALCULATE(48000000,1000);
  RCC_CRSInitStruct.ErrorLimitValue = 34;
  RCC_CRSInitStruct.HSI48CalibrationValue = 32;

  HAL_RCCEx_CRSConfig(&RCC_CRSInitStruct);
}

void PeriphCommonClock_Config(void)
{
  RCC_PeriphCLKInitTypeDef PeriphClkInit = {0};

  /** Initializes the common peripherals clock
  */
  PeriphClkInit.PeriphClockSelection = RCC_PERIPHCLK_SYSTICK;
  PeriphClkInit.SystickClockSelection = RCC_SYSTICKCLKSOURCE_HCLK_DIV8;
  if (HAL_RCCEx_PeriphCLKConfig(&PeriphClkInit) != HAL_OK)
  {
    Error_Handler();
  }
}

static void MX_ADC1_Init(void)
{

  ADC_ChannelConfTypeDef sConfig = {0};

  /** Common config
  */
  hadc1.Instance = ADC1;
  hadc1.Init.Resolution = ADC_RESOLUTION_12B;
  hadc1.Init.GainCompensation = 0;
  hadc1.Init.ScanConvMode = ADC_SCAN_DISABLE;
  hadc1.Init.EOCSelection = ADC_EOC_SINGLE_CONV;
  hadc1.Init.LowPowerAutoWait = ENABLE;
  hadc1.Init.ContinuousConvMode = DISABLE;
  hadc1.Init.NbrOfConversion = 1;
  hadc1.Init.DiscontinuousConvMode = DISABLE;
  hadc1.Init.ExternalTrigConv = ADC_SOFTWARE_START;
  hadc1.Init.ExternalTrigConvEdge = ADC_EXTERNALTRIGCONVEDGE_NONE;
  hadc1.Init.Overrun = ADC_OVR_DATA_PRESERVED;
  hadc1.Init.LeftBitShift = ADC_LEFTBITSHIFT_NONE;
  hadc1.Init.ConversionDataManagement = ADC_CONVERSIONDATA_DR;
  hadc1.Init.OversamplingMode = DISABLE;
  if (HAL_ADC_Init(&hadc1) != HAL_OK)
  {
    Error_Handler();
  }

  /** Configure Regular Channel
  */
  sConfig.Channel = ADC_CHANNEL_1;
  sConfig.Rank = ADC_REGULAR_RANK_1;
  sConfig.SamplingTime = ADC_SAMPLETIME_1CYCLE_5;
  sConfig.OffsetNumber = ADC_OFFSET_NONE;
  sConfig.Offset = 0;
  if (HAL_ADC_ConfigChannel(&hadc1, &sConfig) != HAL_OK)
  {
    Error_Handler();
  }
  /* USER CODE BEGIN ADC1_Init 2 */
  if (HAL_ADCEx_Calibration_Start(&hadc1, ADC_SINGLE_ENDED) != HAL_OK)
  {
      Error_Handler();
  }
  /* USER CODE END ADC1_Init 2 */

}

static void MX_ICACHE_Init(void)
{

  /** Enable instruction cache in 1-way (direct mapped cache)
  */
  if (HAL_ICACHE_ConfigAssociativityMode(ICACHE_1WAY) != HAL_OK)
  {
    Error_Handler();
  }
  if (HAL_ICACHE_Enable() != HAL_OK)
  {
    Error_Handler();
  }

}

static void MX_RNG_Init(void)
{

  hrng.Instance = RNG;
  hrng.Init.ClockErrorDetection = RNG_CED_ENABLE;
  if (HAL_RNG_Init(&hrng) != HAL_OK)
  {
    Error_Handler();
  }

}

static void MX_SDMMC1_SD_Init(void)
{

  /* USER CODE BEGIN SDMMC1_Init 0 */
	if (CzyKartaObecna())		//jeżeli nie ma karty to pomiń inicjalizację
		return;
  /* USER CODE END SDMMC1_Init 0 */

  hsd1.Instance = SDMMC1;
  hsd1.Init.ClockEdge = SDMMC_CLOCK_EDGE_RISING;
  hsd1.Init.ClockPowerSave = SDMMC_CLOCK_POWER_SAVE_DISABLE;
  hsd1.Init.BusWide = SDMMC_BUS_WIDE_4B;
  hsd1.Init.HardwareFlowControl = SDMMC_HARDWARE_FLOW_CONTROL_DISABLE;
  hsd1.Init.ClockDiv = 0;
  if (HAL_SD_Init(&hsd1) != HAL_OK)
  {
    Error_Handler();
  }

}

static void MX_SPI3_Init(void)
{

  SPI_AutonomousModeConfTypeDef HAL_SPI_AutonomousMode_Cfg_Struct = {0};

  /* SPI3 parameter configuration*/
  hspi3.Instance = SPI3;
  hspi3.Init.Mode = SPI_MODE_MASTER;
  hspi3.Init.Direction = SPI_DIRECTION_2LINES_TXONLY;
  hspi3.Init.DataSize = SPI_DATASIZE_8BIT;
  hspi3.Init.CLKPolarity = SPI_POLARITY_LOW;
  hspi3.Init.CLKPhase = SPI_PHASE_1EDGE;
  hspi3.Init.NSS = SPI_NSS_HARD_OUTPUT;
  hspi3.Init.BaudRatePrescaler = SPI_BAUDRATEPRESCALER_4;
  hspi3.Init.FirstBit = SPI_FIRSTBIT_MSB;
  hspi3.Init.TIMode = SPI_TIMODE_DISABLE;
  hspi3.Init.CRCCalculation = SPI_CRCCALCULATION_DISABLE;
  hspi3.Init.CRCPolynomial = 0x7;
  hspi3.Init.NSSPMode = SPI_NSS_PULSE_ENABLE;
  hspi3.Init.NSSPolarity = SPI_NSS_POLARITY_LOW;
  hspi3.Init.FifoThreshold = SPI_FIFO_THRESHOLD_01DATA;
  hspi3.Init.MasterSSIdleness = SPI_MASTER_SS_IDLENESS_00CYCLE;
  hspi3.Init.MasterInterDataIdleness = SPI_MASTER_INTERDATA_IDLENESS_00CYCLE;
  hspi3.Init.MasterReceiverAutoSusp = SPI_MASTER_RX_AUTOSUSP_DISABLE;
  hspi3.Init.MasterKeepIOState = SPI_MASTER_KEEP_IO_STATE_DISABLE;
  hspi3.Init.IOSwap = SPI_IO_SWAP_DISABLE;
  hspi3.Init.ReadyMasterManagement = SPI_RDY_MASTER_MANAGEMENT_INTERNALLY;
  hspi3.Init.ReadyPolarity = SPI_RDY_POLARITY_HIGH;
  if (HAL_SPI_Init(&hspi3) != HAL_OK)
  {
    Error_Handler();
  }
  HAL_SPI_AutonomousMode_Cfg_Struct.TriggerState = SPI_AUTO_MODE_DISABLE;
  HAL_SPI_AutonomousMode_Cfg_Struct.TriggerSelection = SPI_GRP2_GPDMA_CH0_TCF_TRG;
  HAL_SPI_AutonomousMode_Cfg_Struct.TriggerPolarity = SPI_TRIG_POLARITY_RISING;
  if (HAL_SPIEx_SetConfigAutonomousMode(&hspi3, &HAL_SPI_AutonomousMode_Cfg_Struct) != HAL_OK)
  {
    Error_Handler();
  }

}

static void MX_TIM2_Init(void)
{

  TIM_ClockConfigTypeDef sClockSourceConfig = {0};
  TIM_MasterConfigTypeDef sMasterConfig = {0};
  TIM_IC_InitTypeDef sConfigIC = {0};

  htim2.Instance = TIM2;
  htim2.Init.Prescaler = 47;
  htim2.Init.CounterMode = TIM_COUNTERMODE_UP;
  htim2.Init.Period = 4294967295;
  htim2.Init.ClockDivision = TIM_CLOCKDIVISION_DIV1;
  htim2.Init.AutoReloadPreload = TIM_AUTORELOAD_PRELOAD_DISABLE;
  if (HAL_TIM_Base_Init(&htim2) != HAL_OK)
  {
    Error_Handler();
  }
  sClockSourceConfig.ClockSource = TIM_CLOCKSOURCE_INTERNAL;
  if (HAL_TIM_ConfigClockSource(&htim2, &sClockSourceConfig) != HAL_OK)
  {
    Error_Handler();
  }
  if (HAL_TIM_IC_Init(&htim2) != HAL_OK)
  {
    Error_Handler();
  }
  sMasterConfig.MasterOutputTrigger = TIM_TRGO_RESET;
  sMasterConfig.MasterSlaveMode = TIM_MASTERSLAVEMODE_DISABLE;
  if (HAL_TIMEx_MasterConfigSynchronization(&htim2, &sMasterConfig) != HAL_OK)
  {
    Error_Handler();
  }
  sConfigIC.ICPolarity = TIM_INPUTCHANNELPOLARITY_FALLING;
  sConfigIC.ICSelection = TIM_ICSELECTION_DIRECTTI;
  sConfigIC.ICPrescaler = TIM_ICPSC_DIV1;
  sConfigIC.ICFilter = 0;
  if (HAL_TIM_IC_ConfigChannel(&htim2, &sConfigIC, TIM_CHANNEL_1) != HAL_OK)
  {
    Error_Handler();
  }
  if (HAL_TIM_IC_ConfigChannel(&htim2, &sConfigIC, TIM_CHANNEL_2) != HAL_OK)
  {
    Error_Handler();
  }
  if (HAL_TIM_IC_ConfigChannel(&htim2, &sConfigIC, TIM_CHANNEL_3) != HAL_OK)
  {
    Error_Handler();
  }
  if (HAL_TIM_IC_ConfigChannel(&htim2, &sConfigIC, TIM_CHANNEL_4) != HAL_OK)
  {
    Error_Handler();
  }

}

static void MX_TIM7_Init(void)
{

  TIM_MasterConfigTypeDef sMasterConfig = {0};

  htim7.Instance = TIM7;
  htim7.Init.Prescaler = 47;
  htim7.Init.CounterMode = TIM_COUNTERMODE_UP;
  htim7.Init.Period = 65535;
  htim7.Init.AutoReloadPreload = TIM_AUTORELOAD_PRELOAD_DISABLE;
  if (HAL_TIM_Base_Init(&htim7) != HAL_OK)
  {
    Error_Handler();
  }
  sMasterConfig.MasterOutputTrigger = TIM_TRGO_RESET;
  sMasterConfig.MasterSlaveMode = TIM_MASTERSLAVEMODE_DISABLE;
  if (HAL_TIMEx_MasterConfigSynchronization(&htim7, &sMasterConfig) != HAL_OK)
  {
    Error_Handler();
  }
  /* USER CODE BEGIN TIM7_Init 2 */
  HAL_TIM_Base_Start_IT(&htim7);		//rozpocznij liczenie czasu w trybie z przerwaniami
  /* USER CODE END TIM7_Init 2 */

}

static void MX_USART1_UART_Init(void)
{

  huart1.Instance = USART1;
  huart1.Init.BaudRate = 115200;
  huart1.Init.WordLength = UART_WORDLENGTH_8B;
  huart1.Init.StopBits = UART_STOPBITS_1;
  huart1.Init.Parity = UART_PARITY_NONE;
  huart1.Init.Mode = UART_MODE_TX_RX;
  huart1.Init.HwFlowCtl = UART_HWCONTROL_NONE;
  huart1.Init.OverSampling = UART_OVERSAMPLING_16;
  huart1.Init.OneBitSampling = UART_ONE_BIT_SAMPLE_DISABLE;
  huart1.Init.ClockPrescaler = UART_PRESCALER_DIV1;
  huart1.AdvancedInit.AdvFeatureInit = UART_ADVFEATURE_NO_INIT;
  if (HAL_UART_Init(&huart1) != HAL_OK)
  {
    Error_Handler();
  }
  if (HAL_UARTEx_SetTxFifoThreshold(&huart1, UART_TXFIFO_THRESHOLD_1_8) != HAL_OK)
  {
    Error_Handler();
  }
  if (HAL_UARTEx_SetRxFifoThreshold(&huart1, UART_RXFIFO_THRESHOLD_1_8) != HAL_OK)
  {
    Error_Handler();
  }
  if (HAL_UARTEx_DisableFifoMode(&huart1) != HAL_OK)
  {
    Error_Handler();
  }

}

static void MX_USB_PCD_Init(void)
{

  hpcd_USB_DRD_FS.Instance = USB_DRD_FS;
  hpcd_USB_DRD_FS.Init.dev_endpoints = 8;
  hpcd_USB_DRD_FS.Init.speed = USBD_FS_SPEED;
  hpcd_USB_DRD_FS.Init.phy_itface = PCD_PHY_EMBEDDED;
  hpcd_USB_DRD_FS.Init.Sof_enable = DISABLE;
  hpcd_USB_DRD_FS.Init.low_power_enable = DISABLE;
  hpcd_USB_DRD_FS.Init.lpm_enable = DISABLE;
  hpcd_USB_DRD_FS.Init.battery_charging_enable = DISABLE;
  hpcd_USB_DRD_FS.Init.vbus_sensing_enable = DISABLE;
  hpcd_USB_DRD_FS.Init.bulk_doublebuffer_enable = DISABLE;
  hpcd_USB_DRD_FS.Init.iso_singlebuffer_enable = DISABLE;
  if (HAL_PCD_Init(&hpcd_USB_DRD_FS) != HAL_OK)
  {
    Error_Handler();
  }

}

static void MX_GPIO_Init(void)
{
  GPIO_InitTypeDef GPIO_InitStruct = {0};

  /* GPIO Ports Clock Enable */
  __HAL_RCC_GPIOC_CLK_ENABLE();
  __HAL_RCC_GPIOA_CLK_ENABLE();
  __HAL_RCC_GPIOD_CLK_ENABLE();
  __HAL_RCC_GPIOB_CLK_ENABLE();

  /*Configure GPIO pin Output Level */
  HAL_GPIO_WritePin(LED_GPIO_Port, LED_Pin, GPIO_PIN_RESET);

  /*Configure GPIO pin Output Level */
  HAL_GPIO_WritePin(D_C_GPIO_Port, D_C_Pin, GPIO_PIN_RESET);

  /*Configure GPIO pin : LED_Pin */
  GPIO_InitStruct.Pin = LED_Pin;
  GPIO_InitStruct.Mode = GPIO_MODE_OUTPUT_PP;
  GPIO_InitStruct.Pull = GPIO_NOPULL;
  GPIO_InitStruct.Speed = GPIO_SPEED_FREQ_LOW;
  HAL_GPIO_Init(LED_GPIO_Port, &GPIO_InitStruct);

  /*Configure GPIO pin : CD_Pin */
  GPIO_InitStruct.Pin = CD_Pin;
  GPIO_InitStruct.Mode = GPIO_MODE_INPUT;
  GPIO_InitStruct.Pull = GPIO_NOPULL;
  HAL_GPIO_Init(CD_GPIO_Port, &GPIO_InitStruct);

  /*Configure GPIO pin : D_C_Pin */
  GPIO_InitStruct.Pin = D_C_Pin;
  GPIO_InitStruct.Mode = GPIO_MODE_OUTPUT_PP;
  GPIO_InitStruct.Pull = GPIO_NOPULL;
  GPIO_InitStruct.Speed = GPIO_SPEED_FREQ_LOW;
  HAL_GPIO_Init(D_C_GPIO_Port, &GPIO_InitStruct);

}

void Error_Handler(void)
{
  __disable_irq();
  while (1)
  {
  }
}
